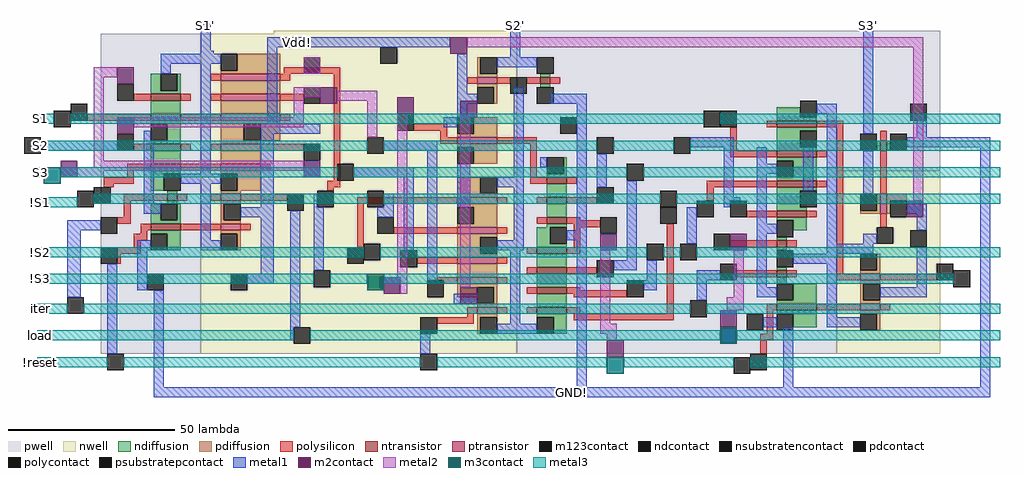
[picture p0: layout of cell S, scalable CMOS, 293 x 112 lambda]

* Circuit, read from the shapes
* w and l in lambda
.subckt S !S1 !S2 !S3 !reset GND! S1 S1' S2 S2' S3 S3' Vdd! iter load
M1 n1 !reset GND! GND! nfet w=9 l=2
M2 n2 !S1 S1' GND! nfet w=9 l=2
M3 n1 S2 n2 GND! nfet w=9 l=2
M4 n3 S1 n1 GND! nfet w=9 l=2
M5 S1' S3 n3 GND! nfet w=9 l=2
M6 S1' iter n1 GND! nfet w=3 l=2
M7 n4 !S1 n5 GND! nfet w=9 l=2
M8 n6 !S2 n4 GND! nfet w=9 l=2
M9 n7 S3 n6 GND! nfet w=9 l=2
M10 GND! !reset n7 GND! nfet w=9 l=2
M11 S2' n5 GND! GND! nfet w=3 l=2
M12 n8 !reset GND! GND! nfet w=6 l=2
M13 n9 S2 n8 GND! nfet w=6 l=2
M14 n10 !S3 n9 GND! nfet w=6 l=2
M15 n11 !reset GND! GND! nfet w=12 l=2
M16 n12 iter n11 GND! nfet w=3 l=2
M17 n11 load n12 GND! nfet w=3 l=2
M18 n13 S2 n11 GND! nfet w=9 l=2
M19 n11 !S2 n13 GND! nfet w=12 l=2
M20 n13 S1 n11 GND! nfet w=12 l=2
M21 n12 !S3 n13 GND! nfet w=12 l=2
M22 GND! n12 S3' GND! nfet w=3 l=2
M23 Vdd! !reset S1' Vdd! pfet w=6 l=2
M24 S1' load Vdd! Vdd! pfet w=6 l=2
M25 n14 !S1 S1' Vdd! pfet w=12 l=2
M26 Vdd! S3 n14 Vdd! pfet w=12 l=2
M27 n15 S1 Vdd! Vdd! pfet w=18 l=2
M28 n16 S2 n15 Vdd! pfet w=18 l=2
M29 S1' !S3 n16 Vdd! pfet w=18 l=2
M30 n17 S2 Vdd! Vdd! pfet w=12 l=2
M31 n5 S3 n17 Vdd! pfet w=12 l=2
M32 n18 !S1 n5 Vdd! pfet w=12 l=2
M33 n5 !S2 n18 Vdd! pfet w=12 l=2
M34 Vdd! !S3 n18 Vdd! pfet w=12 l=2
M35 Vdd! !reset n5 Vdd! pfet w=6 l=2
M36 S2' n5 Vdd! Vdd! pfet w=6 l=2
M37 Vdd! !reset n12 Vdd! pfet w=6 l=2
M38 n12 !S3 Vdd! Vdd! pfet w=6 l=2
M39 Vdd! n12 S3' Vdd! pfet w=6 l=2
.ends

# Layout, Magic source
magic
tech scmos
<< nwell >>
rect -104 81 -50 83
rect -106 62 -45 81
rect -106 57 -43 62
rect -106 53 -45 57
rect -104 25 -45 53
rect -120 13 -117 17
rect -108 13 -45 25
rect 86 27 91 32
rect -126 6 -45 13
rect -126 1 -43 6
rect -126 -2 -45 1
rect -126 -14 -53 -2
<< pwell >>
rect -31 68 96 83
rect -28 59 46 68
rect -31 57 46 59
rect -28 22 46 57
rect -30 16 46 22
rect -156 -14 -126 13
rect -22 -14 46 16
<< psubstratepcontact >>
rect -18 52 -13 57
rect -142 5 -137 10
<< nsubstratencontact >>
rect -72 73 -67 78
rect -117 5 -112 10
<< polysilicon >>
rect -95 70 -84 72
rect -160 56 -143 58
rect -148 41 -143 43
rect -148 39 -146 41
rect -155 37 -146 39
rect -86 38 -84 70
rect -62 53 -52 55
rect -54 51 -52 53
rect -54 49 -51 51
rect -36 49 -25 51
rect -155 36 -152 37
rect -88 36 -84 38
rect -27 37 -25 49
rect 33 47 35 54
rect 33 45 44 47
rect 26 36 44 38
rect -88 35 -86 36
rect -149 32 -137 34
rect -112 32 -100 34
rect -149 27 -147 32
rect -79 31 -52 33
rect -14 31 -7 33
rect 26 32 28 36
rect -151 25 -147 27
rect -144 22 -142 23
rect -146 20 -142 22
rect -146 18 -144 20
rect -79 18 -77 31
rect -13 24 -6 26
rect -68 22 -52 24
rect 38 27 45 29
rect -151 16 -144 18
rect -151 13 -150 16
rect -61 13 -52 15
rect -15 10 -7 12
rect -55 8 -50 9
rect -53 7 -50 8
rect -14 5 -12 6
rect -14 3 2 5
rect -46 -3 -44 -1
rect -55 -5 -44 -3
rect -14 -2 -12 0
rect 14 -2 16 25
rect 33 18 46 20
rect 35 9 45 11
rect 80 8 95 10
rect -14 -4 16 -2
rect 44 -8 46 0
rect 42 -10 46 -8
rect 42 -14 44 -10
<< polycontact >>
rect -165 56 -160 61
rect -67 53 -62 58
rect 30 54 35 59
rect -158 31 -153 36
rect -100 29 -95 34
rect -91 30 -86 35
rect -7 31 -2 36
rect -156 22 -151 27
rect -73 22 -68 27
rect -6 22 -1 27
rect 12 25 17 30
rect 23 27 28 32
rect 33 27 38 32
rect -156 13 -151 18
rect -82 13 -77 18
rect -66 12 -61 17
rect -7 9 -2 14
rect -58 3 -53 8
rect 2 3 7 8
rect -60 -8 -55 -3
rect 28 17 33 22
rect 30 8 35 13
rect 95 8 100 13
rect 39 -19 44 -14
<< metal1 >>
rect -126 77 -123 85
rect -106 78 -51 81
rect -126 76 -122 77
rect -106 55 -103 78
rect -49 63 -46 76
rect -33 73 -30 85
rect -108 53 -103 55
rect -174 47 -151 50
rect -166 23 -156 26
rect -166 3 -162 23
rect -154 -14 -151 13
rect -145 5 -142 17
rect -108 10 -104 53
rect -71 47 -55 50
rect -80 39 -62 42
rect -92 30 -91 34
rect -71 30 -68 34
rect -112 7 -104 10
rect -140 -24 -137 5
rect -99 -6 -96 29
rect -92 11 -89 30
rect -73 27 -68 30
rect -65 17 -62 39
rect -72 5 -71 9
rect -58 8 -55 47
rect -99 -10 -98 -6
rect -60 -14 -57 -8
rect -13 -24 -10 64
rect 73 59 76 85
rect 21 48 34 51
rect 86 48 111 51
rect -7 36 -4 46
rect 2 14 5 38
rect 31 33 34 48
rect 31 32 36 33
rect 20 19 23 30
rect 31 30 33 32
rect -2 11 5 14
rect 8 8 11 14
rect 7 5 11 8
rect 23 8 30 11
rect 23 2 26 8
rect 49 -24 52 -6
rect 108 -24 111 48
rect -140 -27 111 -24
<< m2contact >>
rect -51 76 -46 81
rect -67 58 -62 63
rect -48 57 -43 62
rect -168 39 -163 44
rect -71 4 -66 9
rect -48 1 -43 6
rect -6 17 -1 22
rect 86 27 91 32
rect 33 17 38 22
rect 30 -6 35 -1
rect -4 -15 1 -10
<< metal2 >>
rect -46 78 91 81
rect -85 62 -73 65
rect -76 51 -73 62
rect -163 39 -155 42
rect -67 9 -64 58
rect -66 4 -64 9
rect -48 6 -45 57
rect 88 32 91 78
rect -6 -5 -3 17
rect 34 3 37 17
rect 32 -1 37 3
rect -6 -8 -1 -5
rect -4 -10 -1 -8
<< m3contact >>
rect -173 37 -168 42
rect -76 5 -71 10
rect 30 -11 35 -6
rect -4 -20 1 -15
<< m123contact >>
rect -170 54 -165 59
rect -179 46 -174 51
rect -76 46 -71 51
rect -85 38 -80 43
rect -163 30 -158 35
rect -76 30 -71 35
rect -77 14 -72 19
rect -92 6 -87 11
rect 25 54 30 59
rect -7 46 -2 51
rect 16 46 21 51
rect 2 38 7 43
rect 12 30 17 35
rect -166 -2 -161 3
rect 8 14 13 19
rect 18 14 23 19
rect 100 6 105 11
rect 21 -3 26 2
rect -98 -11 -93 -6
rect -154 -19 -149 -14
rect -60 -19 -55 -14
rect 34 -20 39 -15
<< metal3 >>
rect -175 55 -170 58
rect -165 55 25 58
rect 30 55 114 58
rect -174 47 -76 50
rect -71 47 -7 50
rect -2 47 16 50
rect 21 47 114 50
rect -175 39 -173 42
rect -168 39 -85 42
rect -80 39 2 42
rect 7 39 114 42
rect -175 30 -163 33
rect -158 31 -76 34
rect -71 31 12 34
rect 17 31 114 34
rect -175 15 -77 18
rect -72 15 8 18
rect 13 15 18 18
rect 23 15 114 18
rect -175 7 -92 10
rect -87 7 -76 10
rect -71 7 100 10
rect -175 -2 -166 1
rect -161 -2 21 1
rect 26 -2 114 1
rect -175 -10 -98 -7
rect -93 -10 30 -7
rect 35 -10 114 -7
rect -175 -18 -154 -15
rect -149 -18 -60 -15
rect -55 -18 -4 -15
rect 1 -18 34 -15
rect 39 -18 114 -15
use S1  S1_0
transform 0 1 -110 1 0 17
box -6 -48 65 25
use S2  S2_0
transform 0 -1 -37 1 0 -7
box -7 -30 90 18
use S3  S3_0
transform 0 1 30 1 0 64
box -78 4 4 66
<< labels >>
rlabel metal1 -140 -27 111 -24 5 GND!
rlabel metal1 -102 78 -92 81 1 Vdd!
rlabel metal1 -126 84 -123 85 1 S1'
rlabel metal1 -33 84 -30 85 1 S2'
rlabel metal1 73 84 76 85 1 S3'
rlabel metal3 -175 55 -173 58 7 S1
rlabel metal3 -175 47 -173 50 7 S2
rlabel metal3 -175 39 -173 42 7 S3
rlabel metal3 -175 15 -173 18 7 !S2
rlabel metal3 -175 7 -173 10 7 !S3
rlabel metal3 -175 -2 -173 1 7 iter
rlabel metal3 -175 -10 -173 -7 7 load
rlabel metal3 -175 -18 -173 -15 7 !reset
rlabel metal3 -175 30 -173 33 7 !S1
<< end >>

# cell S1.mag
magic
tech scmos
<< nwell >>
rect -6 -16 65 14
<< pwell >>
rect -6 -46 65 -16
<< ntransistor >>
rect 6 -31 8 -22
rect 15 -26 17 -23
rect 24 -31 26 -22
rect 30 -31 32 -22
rect 39 -31 41 -22
rect 45 -31 47 -22
<< ptransistor >>
rect 6 -10 8 -4
rect 15 -10 17 -4
rect 24 -10 26 2
rect 30 -10 32 2
rect 39 -10 41 8
rect 45 -10 47 8
rect 51 -10 53 8
<< ndiffusion >>
rect 0 -26 6 -22
rect 5 -31 6 -26
rect 8 -23 14 -22
rect 8 -28 9 -23
rect 14 -26 15 -23
rect 17 -26 18 -23
rect 8 -31 14 -28
rect 23 -27 24 -22
rect 18 -31 24 -27
rect 26 -31 30 -22
rect 32 -26 39 -22
rect 32 -31 33 -26
rect 38 -31 39 -26
rect 41 -31 45 -22
rect 47 -23 53 -22
rect 47 -28 48 -23
rect 47 -31 53 -28
<< pdiffusion >>
rect 33 2 39 8
rect 18 -4 24 2
rect 0 -5 6 -4
rect 5 -10 6 -5
rect 8 -9 9 -4
rect 14 -9 15 -4
rect 8 -10 15 -9
rect 17 -5 24 -4
rect 17 -10 18 -5
rect 23 -10 24 -5
rect 26 -10 30 2
rect 32 -3 33 2
rect 38 -3 39 2
rect 32 -10 39 -3
rect 41 -10 45 8
rect 47 -10 51 8
rect 53 -5 59 8
rect 53 -10 54 -5
<< ndcontact >>
rect 0 -31 5 -26
rect 9 -28 14 -23
rect 18 -27 23 -22
rect 33 -31 38 -26
rect 48 -28 53 -23
<< pdcontact >>
rect 0 -10 5 -5
rect 9 -9 14 -4
rect 18 -10 23 -5
rect 33 -3 38 2
rect 54 -10 59 -5
<< polysilicon >>
rect 24 2 26 5
rect 30 2 32 15
rect 39 8 41 11
rect 45 8 47 15
rect 53 11 55 15
rect 51 9 55 11
rect 51 8 53 9
rect 6 -4 8 -1
rect 15 -4 17 -1
rect 6 -22 8 -10
rect 15 -13 17 -10
rect 15 -23 17 -20
rect 24 -22 26 -10
rect 30 -13 32 -10
rect 30 -22 32 -19
rect 39 -22 41 -10
rect 45 -13 47 -10
rect 51 -13 53 -10
rect 45 -22 47 -19
rect 15 -29 17 -26
rect 6 -34 8 -31
rect 24 -34 26 -31
rect 30 -36 32 -31
rect 39 -34 41 -31
rect 45 -36 47 -31
<< polycontact >>
rect 27 15 32 20
rect 44 15 49 20
rect 53 15 58 20
rect 30 -41 35 -36
rect 45 -41 50 -36
<< metal1 >>
rect 10 -4 13 6
rect 35 2 38 20
rect 0 -13 3 -10
rect 20 -13 23 -10
rect 56 -13 59 -10
rect 0 -16 61 -13
rect 20 -22 23 -16
rect 11 -30 14 -28
rect 11 -31 33 -30
rect 56 -25 59 -16
rect 53 -28 59 -25
rect 0 -35 3 -31
rect 11 -33 36 -31
<< m2contact >>
rect 44 20 49 25
rect 22 15 27 20
rect 35 -41 40 -36
rect 50 -41 55 -36
<< metal2 >>
rect 46 15 49 20
rect 53 15 58 20
rect 24 -45 27 15
rect 37 12 49 15
rect 37 -36 40 12
rect 52 -45 55 -41
rect 24 -48 55 -45
<< labels >>
rlabel polysilicon 6 -2 8 -1 1 !reset
rlabel polysilicon 15 -2 17 -1 1 !load
rlabel polysilicon 6 -21 8 -20 1 !reset
rlabel polysilicon 15 -21 17 -20 1 iter
rlabel polysilicon 24 -20 26 -19 1 !S1
rlabel polysilicon 30 -20 32 -19 1 S2
rlabel polysilicon 45 -20 47 -19 1 S3
rlabel polysilicon 24 4 26 5 1 !S1
rlabel polysilicon 30 4 32 5 1 S3
rlabel polysilicon 39 10 41 11 1 S1
rlabel polysilicon 45 10 47 11 1 S2
rlabel polysilicon 51 10 53 11 1 !S3
rlabel polysilicon 39 -20 41 -19 1 S1
<< end >>

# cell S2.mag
magic
tech scmos
<< nwell >>
rect -7 -6 90 18
<< pwell >>
rect -7 -30 67 -6
<< ntransistor >>
rect 5 -21 7 -12
rect 11 -21 13 -12
rect 17 -21 19 -12
rect 23 -21 25 -12
rect 32 -21 34 -15
rect 38 -21 40 -15
rect 44 -21 46 -15
<< ptransistor >>
rect 5 0 7 6
rect 14 0 16 12
rect 20 0 22 12
rect 29 0 31 12
rect 38 0 40 12
rect 56 0 58 12
<< ndiffusion >>
rect 4 -17 5 -12
rect -1 -21 5 -17
rect 7 -21 11 -12
rect 13 -21 17 -12
rect 19 -21 23 -12
rect 25 -15 31 -12
rect 25 -16 32 -15
rect 25 -21 26 -16
rect 31 -21 32 -16
rect 34 -21 38 -15
rect 40 -21 44 -15
rect 46 -20 47 -15
rect 46 -21 52 -20
<< pdiffusion >>
rect 10 6 14 12
rect -1 5 5 6
rect 4 0 5 5
rect 7 1 8 6
rect 13 1 14 6
rect 7 0 14 1
rect 16 0 20 12
rect 22 5 29 12
rect 22 0 23 5
rect 28 0 29 5
rect 31 7 32 12
rect 37 7 38 12
rect 31 0 38 7
rect 40 5 46 12
rect 40 0 41 5
rect 55 7 56 12
rect 50 0 56 7
rect 58 7 59 12
rect 58 0 64 7
<< ndcontact >>
rect -1 -17 4 -12
rect 26 -21 31 -16
rect 47 -20 52 -15
<< pdcontact >>
rect -1 0 4 5
rect 8 1 13 6
rect 23 0 28 5
rect 32 7 37 12
rect 41 0 46 5
rect 50 7 55 12
rect 59 7 64 12
<< polysilicon >>
rect 14 12 16 15
rect 20 12 22 15
rect 29 12 31 15
rect 38 12 40 15
rect 56 12 58 15
rect 5 6 7 9
rect 5 -3 7 0
rect 14 -3 16 0
rect 20 -3 22 0
rect 29 -3 31 0
rect 38 -3 40 0
rect 56 -3 58 0
rect 5 -12 7 -9
rect 11 -12 13 -9
rect 17 -12 19 -9
rect 23 -12 25 -9
rect 32 -15 34 -12
rect 38 -15 40 -12
rect 44 -15 46 -12
rect 5 -24 7 -21
rect 11 -24 13 -21
rect 17 -24 19 -21
rect 23 -23 25 -21
rect 32 -23 34 -21
rect 23 -25 34 -23
rect 38 -24 40 -21
rect 44 -24 46 -21
<< metal1 >>
rect 8 6 11 13
rect 61 12 64 16
rect 37 8 50 12
rect 64 9 71 12
rect 68 6 71 9
rect -1 -4 2 0
rect 24 -4 27 0
rect -1 -5 27 -4
rect 43 -5 46 0
rect -1 -7 73 -5
rect -1 -12 2 -7
rect 24 -8 73 -7
rect 49 -15 52 -13
rect 27 -27 30 -21
rect 68 -27 71 -16
use INV1X  INV1X_0
transform 1 0 68 0 1 0
box -6 -23 20 12
<< labels >>
rlabel polysilicon 5 -10 7 -9 1 !S1
rlabel polysilicon 11 -10 13 -9 1 !S2
rlabel polysilicon 17 -10 19 -9 1 S3
rlabel polysilicon 23 -10 25 -9 1 !reset
rlabel polysilicon 38 -13 40 -12 1 S2
rlabel polysilicon 44 -13 46 -12 1 !S3
rlabel polysilicon 5 8 7 9 1 !reset
rlabel polysilicon 14 14 16 15 1 S2
rlabel polysilicon 20 14 22 15 1 S3
rlabel polysilicon 56 14 58 15 1 !S3
rlabel polysilicon 29 14 31 15 1 !S1
rlabel polysilicon 38 14 40 15 1 !S2
<< end >>

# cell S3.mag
magic
tech scmos
<< nwell >>
rect -78 35 -23 66
<< pwell >>
rect -23 35 4 66
rect -78 4 4 35
<< ntransistor >>
rect -17 48 -14 50
rect -65 17 -63 29
rect -55 17 -53 20
rect -46 17 -44 20
rect -37 17 -35 26
rect -28 17 -26 29
rect -19 17 -17 29
rect -10 17 -8 29
<< ptransistor >>
rect -65 42 -63 48
rect -56 42 -54 48
rect -36 48 -30 50
<< ndiffusion >>
rect -17 50 -14 51
rect -17 47 -14 48
rect -70 22 -65 29
rect -66 17 -65 22
rect -63 22 -57 29
rect -63 17 -62 22
rect -57 17 -55 20
rect -53 17 -52 20
rect -41 22 -37 26
rect -47 17 -46 20
rect -44 17 -43 20
rect -38 17 -37 22
rect -35 24 -34 26
rect -29 24 -28 29
rect -35 17 -28 24
rect -26 22 -19 29
rect -26 17 -25 22
rect -20 17 -19 22
rect -17 24 -16 29
rect -11 24 -10 29
rect -17 17 -10 24
rect -8 24 -7 29
rect -8 17 -4 24
<< pdiffusion >>
rect -71 47 -65 48
rect -66 42 -65 47
rect -63 43 -62 48
rect -57 43 -56 48
rect -63 42 -56 43
rect -54 47 -48 48
rect -32 51 -30 56
rect -36 50 -30 51
rect -36 47 -30 48
rect -54 42 -53 47
rect -36 42 -35 47
<< ndcontact >>
rect -17 51 -12 56
rect -17 42 -12 47
rect -71 17 -66 22
rect -62 17 -57 22
rect -52 17 -47 22
rect -43 17 -38 22
rect -34 24 -29 29
rect -25 17 -20 22
rect -16 24 -11 29
rect -7 24 -2 29
<< pdcontact >>
rect -71 42 -66 47
rect -62 43 -57 48
rect -37 51 -32 56
rect -53 42 -48 47
rect -35 42 -30 47
<< psubstratepcontact >>
rect -8 57 -3 62
rect -71 8 -66 13
<< nsubstratencontact >>
rect -46 57 -41 62
<< polysilicon >>
rect -65 48 -63 51
rect -56 48 -54 51
rect -40 48 -36 50
rect -30 48 -17 50
rect -14 48 -11 50
rect -65 29 -63 42
rect -56 37 -54 42
rect -56 35 -8 37
rect -28 29 -26 32
rect -19 29 -17 32
rect -10 29 -8 35
rect -37 26 -35 29
rect -55 20 -53 23
rect -46 20 -44 23
rect -65 14 -63 17
rect -55 14 -53 17
rect -46 14 -44 17
rect -37 14 -35 17
rect -28 14 -26 17
rect -19 14 -17 17
rect -10 14 -8 17
<< polycontact >>
rect -45 47 -40 52
<< metal1 >>
rect -61 59 -46 62
rect -61 48 -58 59
rect -41 59 -33 62
rect -36 56 -33 59
rect -16 59 -8 62
rect -16 56 -13 59
rect -45 46 -42 47
rect -48 43 -42 46
rect -70 35 -67 42
rect -48 35 -45 43
rect -30 43 -17 46
rect -12 43 -2 46
rect -70 32 -3 35
rect -51 22 -48 32
rect -6 29 -3 32
rect -29 25 -16 28
rect -70 13 -67 17
rect -61 14 -58 17
rect -42 14 -39 17
rect -24 14 -21 17
rect -61 11 -16 14
<< labels >>
rlabel polysilicon -65 49 -63 51 1 ~reset
rlabel ndcontact -71 18 -69 20 1 GND!
rlabel metal1 -60 50 -58 52 1 Vdd!
rlabel polysilicon -56 49 -54 51 1 ~S3
rlabel polysilicon -55 21 -53 23 1 iter1
rlabel polysilicon -46 21 -44 23 1 load
rlabel polysilicon -28 30 -26 32 1 !S2
rlabel polysilicon -37 27 -35 29 1 S2
rlabel polysilicon -19 30 -17 32 1 S1
rlabel polysilicon -10 30 -8 31 1 !S3
rlabel metal1 -5 43 -2 46 1 S3
<< end >>

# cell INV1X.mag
magic
tech scmos
<< nwell >>
rect -6 -6 20 12
<< pwell >>
rect -6 -23 20 -6
<< ntransistor >>
rect 6 -16 8 -13
<< ptransistor >>
rect 6 0 8 6
<< ndiffusion >>
rect 5 -16 6 -13
rect 8 -16 9 -13
<< pdiffusion >>
rect 5 1 6 6
rect 0 0 6 1
rect 8 5 14 6
rect 8 0 9 5
<< ndcontact >>
rect 0 -17 5 -12
rect 9 -17 14 -12
<< pdcontact >>
rect 0 1 5 6
rect 9 0 14 5
<< polysilicon >>
rect 6 6 8 9
rect 6 -4 8 0
rect 6 -13 8 -9
rect 6 -19 8 -16
<< polycontact >>
rect 3 -9 8 -4
<< metal1 >>
rect 11 -4 14 0
rect 11 -7 16 -4
rect 11 -12 14 -7
<< end >>
